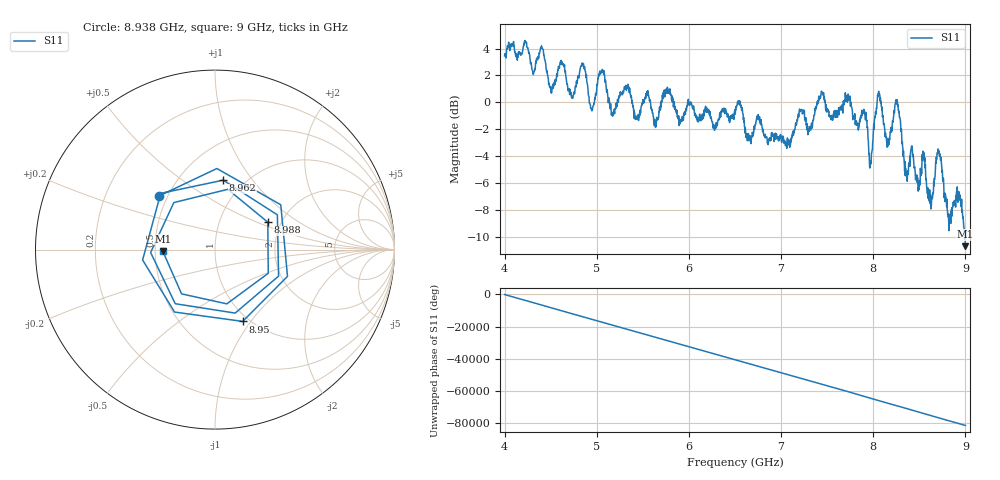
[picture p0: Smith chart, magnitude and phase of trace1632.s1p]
! Created with skrf 1.8.0 (http://scikit-rf.org).
# Hz S RI R 50.0
!freq ReS11 ImS11
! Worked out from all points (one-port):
!   1601 points, 4 GHz to 9 GHz, reference 50 ohm
!   lowest |S11| = -10.7 dB at 9 GHz (marker M1), VSWR 1.82, Z = 27.4 - j0.493 ohm
!   |S11| at or under -10 dB: 8.992654 GHz to end of sweep
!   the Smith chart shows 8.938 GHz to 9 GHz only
!   S11 on the Smith chart (normalised r, x): 8.938 GHz: 0.45, +0.33; 8.95 GHz: 0.93, -0.91; 8.962 GHz: 0.80, +0.73; 8.988 GHz: 1.71, +0.59; 9 GHz: 0.55, -0.01
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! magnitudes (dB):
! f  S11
! 4 GHz  3.4
! 4.403 GHz  4.1
! 4.506 GHz  0.8
! 4.625 GHz  2.8
! 4.728 GHz  0.3
! 4.853 GHz  2.9
! 4.944 GHz  -0.5
! 5.053 GHz  2.2
! 5.169 GHz  -0.8
! 5.25 GHz  0.4
! 5.875 GHz  -1.1
! 6.5 GHz  -0.5
! 7.125 GHz  -2.3
! 7.75 GHz  0.1
! 7.972 GHz  -4.3
! 8.059 GHz  0.8
! 8.153 GHz  -2.9
! 8.259 GHz  0.2
! 8.375 GHz  -5.1
! 8.547 GHz  -3.7
! 8.628 GHz  -7.5
! 8.709 GHz  -3.7
! 8.822 GHz  -9.6
! 8.938 GHz  -7.3
! 8.95 GHz  -7.4
! 8.962 GHz  -8.2
! 8.988 GHz  -9.6
! 9 GHz  -10.7
